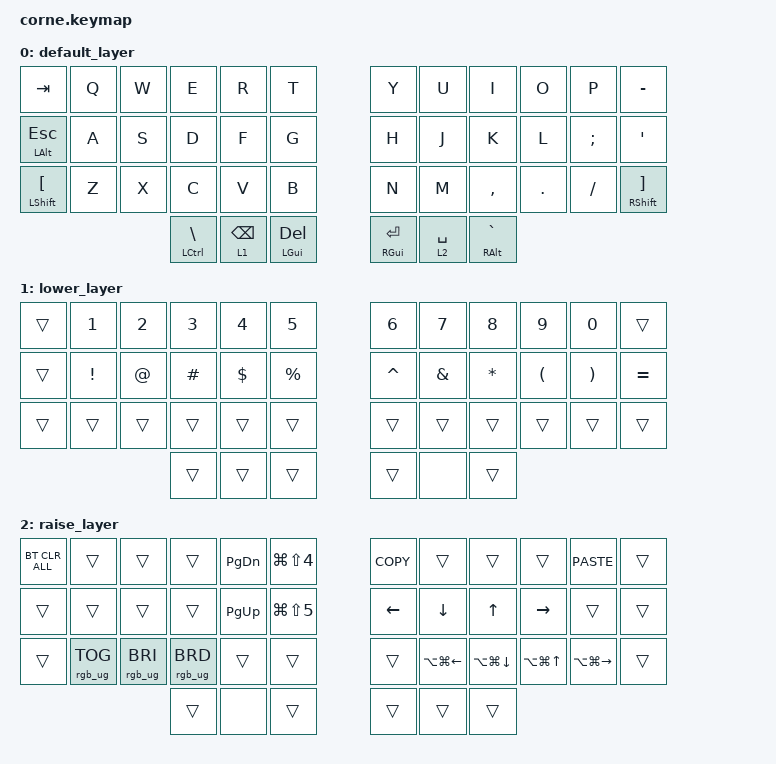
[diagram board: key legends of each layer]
/*
 * Copyright (c) 2020 The ZMK Contributors
 *
 * SPDX-License-Identifier: MIT
 */

#include <behaviors.dtsi>
#include <dt-bindings/zmk/keys.h>
// #include <dt-bindings/zmk/bt.h>
#include <dt-bindings/zmk/rgb.h>
#include <dt-bindings/zmk/bt.h>


/ {
        keymap {
                compatible = "zmk,keymap";

                default_layer {
// -----------------------------------------------------------------------------------------
// |  TAB |  Q  |  W  |  E  |  R  |  T  |   |  Y  |  U   |  I  |  O  |  P  | BSPC |
// | CTRL |  A  |  S  |  D  |  F  |  G  |   |  H  |  J   |  K  |  L  |  ;  |  '   |
// | SHFT |  Z  |  X  |  C  |  V  |  B  |   |  N  |  M   |  ,  |  .  |  /  | ESC  |
//                    | GUI | LWR | SPC |   | ENT | RSE  | ALT |
                        bindings = <
   &kp TAB        &kp Q &kp W &kp E &kp R &kp T   &kp Y &kp U  &kp I     &kp O   &kp P    &kp MINUS
   &mt LALT ESC   &kp A &kp S &kp D &kp F &kp G   &kp H &kp J  &kp K     &kp L   &kp SEMI &kp SQT
   &mt LSHFT LBKT &kp Z &kp X &kp C &kp V &kp B   &kp N &kp M  &kp COMMA &kp DOT &kp FSLH &mt RSHFT RBKT
         &mt LCTRL BSLH &lt 1 BSPC &mt LGUI DEL   &mt RGUI RET &lt 2 SPACE &mt RALT GRAVE
                        >;
                };
                lower_layer {
// -----------------------------------------------------------------------------------------
// |  TAB |  1  |  2  |  3  |  4  |  5  |   |  6  |  7  |  8  |  9  |  0  | BSPC |
// | BTCLR| BT1 | BT2 | BT3 | BT4 | BT5 |   | LFT | DWN |  UP | RGT |     |      |
// | SHFT |     |     |     |     |     |   |     |     |     |     |     |      |
//                    | GUI |     | SPC |   | ENT |     | ALT |
                        bindings = <
   &trans &kp N1       &kp N2       &kp N3       &kp N4       &kp N5         &kp N6    &kp N7    &kp N8    &kp N9    &kp N0   &trans
   &trans &kp EXCL     &kp AT       &kp HASH     &kp DLLR     &kp PRCNT      &kp CARET &kp AMPS  &kp ASTRK &kp LPAR  &kp RPAR &kp EQUAL
   &trans &trans       &trans       &trans       &trans       &trans         &trans    &trans    &trans    &trans    &trans   &trans
                                           &trans  &trans  &trans                &trans  &none   &trans
                        >;
                };

                raise_layer {
// -----------------------------------------------------------------------------------------
// |  TAB |  !  |  @  |  #  |  $  |  %  |   |  ^  |  &  |  *  |  (  |  )  | BSPC |
// | CTRL |     |     |     |     |     |   |  -  |  =  |  [  |  ]  |  \  |  `   |
// | SHFT |     |     |     |     |     |   |  _  |  +  |  {  |  }  | "|" |  ~   |
//                    | GUI |     | SPC |   | ENT |     | ALT |
                        bindings = <
   &bt BT_CLR_ALL &trans           &trans          &trans           &kp PG_DN &kp LG(LS(N4))     &kp K_COPY        &trans             &trans         &trans            &kp K_PASTE       &trans
   &trans         &trans           &trans          &trans           &kp PG_UP &kp LG(LS(N5))     &kp LEFT          &kp DOWN           &kp UP         &kp RIGHT         &trans            &trans
   &trans         &rgb_ug RGB_TOG  &rgb_ug RGB_BRI &rgb_ug RGB_BRD  &trans    &trans             &trans            &kp LA(LG(LEFT))  &kp LA(LG(DOWN))   &kp LA(LG(UP)) &kp LA(LG(RIGHT)) &trans
                                           &trans &none &trans                                         &trans &trans    &trans
                        >;
                };
        };
};

